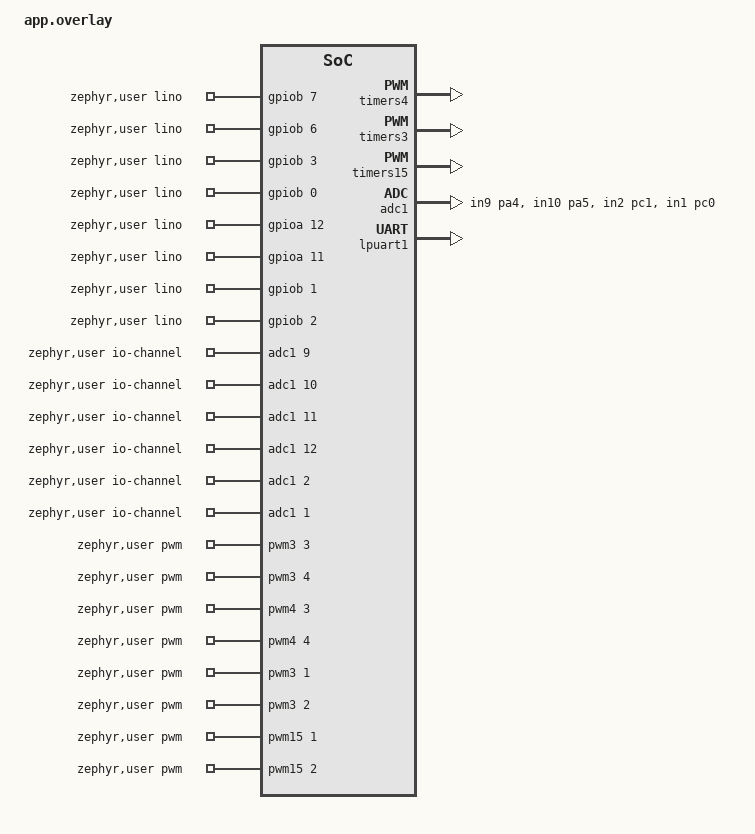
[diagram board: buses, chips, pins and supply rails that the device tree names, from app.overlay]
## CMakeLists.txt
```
cmake_minimum_required(VERSION 3.20.0)
list(APPEND ZEPHYR_EXTRA_MODULES /work/micro_ros_zephyr_module/modules/libmicroros)
find_package(Zephyr REQUIRED HINTS $ENV{ZEPHYR_BASE})
project(unoq_fw)
# The linorobot2 firmware itself -- src/main.cpp, common/lib, src/tools -- compiled
# unmodified for the UNO Q's STM32U585, against shim/ (the Arduino surface it uses),
# as firmware/host/app does for the robot computer. build.sh passes:
#   FIRMWARE_ROOT  the firmware tree
#   LINO_HEADER    gen_firmware_header.py --mcu unoq
#   LINO_LIBDEPS   fetch_libdeps.py's directory (I2Cdevlib, SparkFun BNO080)
foreach(v FIRMWARE_ROOT LINO_HEADER LINO_LIBDEPS)
  if(NOT DEFINED ${v})
    message(FATAL_ERROR "${v} is not set (see build.sh)")
  endif()
endforeach()
file(GLOB LIB_SOURCES ${FIRMWARE_ROOT}/common/lib/*/*.cpp)
file(GLOB TOOL_SOURCES ${FIRMWARE_ROOT}/src/tools/*.cpp)
file(GLOB LIB_DIRS LIST_DIRECTORIES true ${FIRMWARE_ROOT}/common/lib/*)
file(GLOB DEP_DIRS LIST_DIRECTORIES true ${LINO_LIBDEPS}/I2Cdevlib-* "${LINO_LIBDEPS}/SparkFun BNO080*")
set(DEP_SOURCES "")
set(DEP_INCLUDES "")
foreach(d ${DEP_DIRS})
  if(IS_DIRECTORY ${d})
    file(GLOB s ${d}/*.cpp ${d}/src/*.cpp)
    list(APPEND DEP_SOURCES ${s})
    list(APPEND DEP_INCLUDES ${d})
    if(IS_DIRECTORY ${d}/src)
      list(APPEND DEP_INCLUDES ${d}/src)
    endif()
  endif()
endforeach()
# Every source in src/, as PlatformIO compiles it -- not main.cpp by name (base_ident.cpp).
file(GLOB APP_SOURCES ${FIRMWARE_ROOT}/src/*.cpp)
target_sources(app PRIVATE
  src/zephyr_core.cpp src/uart_link.cpp src/pins.cpp src/lidar_uart.cpp
  ${APP_SOURCES} ${LIB_SOURCES} ${TOOL_SOURCES} ${DEP_SOURCES})
if(NOT DEFINED FW_GIT_REV)
  set(FW_GIT_REV "unknown")
endif()
string(TIMESTAMP FW_BUILD_DATE "%Y-%m-%d" UTC)
# The micro-ROS distro this image links (build.sh MICROROS_DISTRO). It sets the banner and
# the default cmd_vel type (Twist through jazzy, TwistStamped after), so it is never
# assumed: a lyrical image that said "jazzy" here listened for Twist while lyrical's Nav2
# sent TwistStamped, and the robot never moved (2026-10-05).
if(NOT DEFINED FW_ROS_DISTRO)
  message(FATAL_ERROR "FW_ROS_DISTRO is not set (build.sh passes MICROROS_DISTRO)")
endif()
target_compile_definitions(app PRIVATE
  LINO_ZEPHYR=1
  ARDUINO=10819
  CONFIG_PATH="${LINO_HEADER}"
  FW_GIT_REV="${FW_GIT_REV}"
  FW_BUILD_DATE="${FW_BUILD_DATE}"
  FW_ROS_DISTRO="${FW_ROS_DISTRO}"
  # rcutils headers ask for C11 Annex K; picolibc + Zephyr 4.4 cannot provide it.
  __STDC_WANT_LIB_EXT1__=0)
# A diagnostic image (LINO_EXTRA_CMAKE=-DLINO_MCU_STATS=1 for build.sh): /mcu_stats at 1 Hz.
if(LINO_MCU_STATS)
  target_compile_definitions(app PRIVATE LINO_MCU_STATS=1)
endif()
# firmware/include first, so its config.h (which includes CONFIG_PATH) is the one found.
target_include_directories(app PRIVATE
  ${FIRMWARE_ROOT}/include ${FIRMWARE_ROOT}/src shim src ${LIB_DIRS} ${DEP_INCLUDES})
# Third-party Arduino libraries and the shared firmware are not written for
# -Wdouble-promotion and friends; their warnings are not this target's to fix.
target_compile_options(app PRIVATE -Wno-double-promotion -Wno-unused-parameter)
```

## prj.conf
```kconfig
# The linorobot2 firmware on the UNO Q MCU (Zephyr 4.4 + micro-ROS jazzy).
CONFIG_MICROROS=y
CONFIG_MICROROS_TRANSPORT_SERIAL=y
# The Arduino firmware's limits (firmware/atomic.meta): an Odometry message does not
# fit a 512-byte MTU, and a best-effort stream cannot fragment.
CONFIG_MICROROS_PUBLISHERS="11"
CONFIG_MICROROS_SUBSCRIBERS="2"
CONFIG_MICROROS_XRCE_DDS_MTU="1024"

CONFIG_CPP=y
CONFIG_STD_CPP17=y
CONFIG_REQUIRES_FULL_LIBCPP=y
CONFIG_FPU=y
CONFIG_GPIO=y
CONFIG_PWM=y
CONFIG_CRC=y
# test_sensors: the Qwiic bus (i2c4), A0, the chip's unique ID
CONFIG_I2C=y
CONFIG_ADC=y
CONFIG_HWINFO=y
# The tool's `set` writes the env page (zephyr_core.cpp linoZephyrEnvWrite).
CONFIG_FLASH=y
CONFIG_FLASH_MAP=y

CONFIG_MAIN_STACK_SIZE=32768
CONFIG_HEAP_MEM_POOL_SIZE=65536
CONFIG_MAIN_THREAD_PRIORITY=3

# Zephyr 4.4: picolibc is the default C library; clock_gettime() comes from POSIX_TIMERS.
CONFIG_POSIX_API=y
CONFIG_POSIX_TIMERS=y
CONFIG_POSIX_DEVICE_IO=y

CONFIG_STDOUT_CONSOLE=y
CONFIG_LOG=y
CONFIG_SERIAL=y
CONFIG_UART_INTERRUPT_DRIVEN=y
CONFIG_UART_USE_RUNTIME_CONFIGURE=y

# The MCU's UART console (usart1, D0/D1) does not reach Linux. printk and the fatal-error
# report go to a RAM buffer instead, read over SWD:
#   openocd ... -c "init; halt; dump_image ram_console.bin <&ram_console_buf> 4096"
CONFIG_RAM_CONSOLE=y
CONFIG_RAM_CONSOLE_BUFFER_SIZE=4096
CONFIG_LOG_MODE_MINIMAL=y
# The UART console hooks printk after the RAM console and would take it back.
CONFIG_UART_CONSOLE=n

# The tool's `base` and lino-tool restart the STM32 (tools.cpp toolRestart: sys_reboot).
CONFIG_REBOOT=y
```

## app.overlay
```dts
/*
 * The linorobot2 firmware on the UNO Q: every pin it may be given by the env, as
 * Arduino header numbers (config/reference/unoq_config.yaml), checked against
 * Zephyr's boards/arduino/uno_q/arduino_r3_connector.dtsi.
 */
#include <zephyr/dt-bindings/pwm/pwm.h>
#include <zephyr/dt-bindings/gpio/gpio.h>

/ {
	zephyr,user {
		/* The Arduino header in pin-number order (D0-D13, A0-A5), then LED3 red, green,
		 * blue -- the shim's pin numbers are the indexes into this list. */
		lino-gpios = <&gpiob 7 0>, <&gpiob 6 0>, <&gpiob 3 0>, <&gpiob 0 0>,
			     <&gpioa 12 0>, <&gpioa 11 0>, <&gpiob 1 0>, <&gpiob 2 0>,
			     <&gpiob 4 0>, <&gpiob 8 0>, <&gpiob 9 0>, <&gpiob 15 0>,
			     <&gpiob 14 0>, <&gpiob 13 0>,
			     <&gpioa 4 0>, <&gpioa 5 0>, <&gpioa 6 0>, <&gpioa 7 0>,
			     <&gpioc 1 0>, <&gpioc 0 0>,
			     <&gpioh 10 GPIO_ACTIVE_LOW>, <&gpioh 11 GPIO_ACTIVE_LOW>,
			     <&gpioh 12 GPIO_ACTIVE_LOW>;
		/* PWM: D3, D6, D9, D10, then A2, A3, D12, D11 -- eight, two per motor for a 4WD or
		 * mecanum base on two-PWM drivers. The period is set at run time
		 * (analogWriteFrequency). The order is pins.cpp pwmIndex(). */
		pwms = <&pwm3 3 PWM_USEC(50) PWM_POLARITY_NORMAL>,
		       <&pwm3 4 PWM_USEC(50) PWM_POLARITY_NORMAL>,
		       <&pwm4 3 PWM_USEC(50) PWM_POLARITY_NORMAL>,
		       <&pwm4 4 PWM_USEC(50) PWM_POLARITY_NORMAL>,
		       <&pwm3 1 PWM_USEC(50) PWM_POLARITY_NORMAL>,
		       <&pwm3 2 PWM_USEC(50) PWM_POLARITY_NORMAL>,
		       <&pwm15 1 PWM_USEC(50) PWM_POLARITY_NORMAL>,
		       <&pwm15 2 PWM_USEC(50) PWM_POLARITY_NORMAL>;
		/* analogRead: A0-A5 = ADC1 IN9, IN10, IN11, IN12, IN2, IN1 (the board's channels) */
		io-channels = <&adc1 9>, <&adc1 10>, <&adc1 11>, <&adc1 12>, <&adc1 2>, <&adc1 1>;
	};
};

/* The board file gives D10 (PB9) to SPI2 as chip select, which would fight TIM4 CH4
 * for the pin; nothing in the firmware uses SPI. */
&spi2 { status = "disabled"; };

&timers4 {
	status = "okay";
	st,prescaler = <0>;
	pwm4: pwm {
		status = "okay";
		pinctrl-0 = <&tim4_ch3_pb8 &tim4_ch4_pb9>;
		pinctrl-names = "default";
	};
};

&timers3 {
	status = "okay";
	st,prescaler = <0>;
	pwm3: pwm {
		status = "okay";
		pinctrl-0 = <&tim3_ch1_pa6 &tim3_ch2_pa7 &tim3_ch3_pb0 &tim3_ch4_pb1>;
		pinctrl-names = "default";
	};
};

/* D12 / D11 (PB14 / PB15): TIM15 CH1 / CH2. SPI2, which the board file puts there, is off. */
&timers15 {
	status = "okay";
	st,prescaler = <0>;
	pwm15: pwm {
		status = "okay";
		pinctrl-0 = <&tim15_ch1_pb14 &tim15_ch2_pb15>;
		pinctrl-names = "default";
	};
};

/* A2 / A3 (PA6 / PA7) are TIM3 CH1 / CH2 above. The board file also gives them to the ADC,
 * whose pinctrl would put them back in analog mode if it initialised after the timer:
 * the ADC keeps A0, A1, A4, A5. (A4/A5 become encoder inputs at run time, after every
 * driver has initialised, which reconfigures them as GPIO.) */
&adc1 {
	pinctrl-0 = <&adc1_in9_pa4 &adc1_in10_pa5 &adc1_in2_pc1 &adc1_in1_pc0>;
};

/*
 * micro-ROS on lpuart1, the internal link to the QRB2210 (/dev/ttyHS1). The LPUART's
 * 8-byte hardware FIFOs are off unless asked for (CR1.FIFOEN); without them a byte
 * every 3.3 us at 3 Mbaud overran the per-byte interrupt path (ISR.ORE set).
 */
&lpuart1 {
	status = "okay";
	fifo-enable;
};

/*
 * The robot's env block (firmware/common/lib/mcu_env/mcu_env.h layout: CRC32, then
 * "key=value\0...\0\0"), in the last 8 KB page of bank 2 -- clear of Arduino's
 * sketch area (storage, 0xe0000-0xfffff) and of any image this app could grow to.
 */
&flash0 {
	partitions {
		lino_env_partition: partition@1fe000 {
			label = "lino-env";
			reg = <0x001fe000 DT_SIZE_K(8)>;
			/* written by the host (openocd) and by the tool's `set` (zephyr_core.cpp) */
		};
	};
};

/*
 * The system clock from the board's 16 MHz crystal (HSE), not the MSI. The board file
 * runs PLL1 from MSIS in PLL mode, which trims the RC oscillator against the 32 kHz
 * crystal in coarse steps: measured against the robot computer's NTP-held clock it ran
 * 300-900 ppm off (2026-10-05), so a timestamp synced once at connect was ~140 ms out
 * after five minutes and the host's scans sat "in the future" of the odom TF. Same
 * 160 MHz: 16 MHz / M 1 x N 20 / R 2 (VCO 320 MHz).
 */
&pll1 {
	clocks = <&clk_hse>;
	div-m = <1>;
	mul-n = <20>;
	div-q = <2>;
	div-r = <2>;
};
```

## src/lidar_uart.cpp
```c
// The firmware's lidarUartOpen() hook on the UNO Q: a real LD19's TX on D0 (PB7), which
// is USART1's RX -- the board file's `arduino_serial`. Interrupt-driven into a ring, read
// by the firmware's raw_scan forwarder (src/main.cpp, pumpRealLidar) from loop(). D1 (the
// UART's TX) is not used: the LD19 needs nothing sent to it.
#include <Arduino.h>

#include <zephyr/device.h>
#include <zephyr/drivers/uart.h>
#include <zephyr/kernel.h>
#include <zephyr/sys/printk.h>
#include <zephyr/sys/ring_buffer.h>

static const struct device *const usart1 = DEVICE_DT_GET(DT_NODELABEL(usart1));
RING_BUF_DECLARE(lidar_ring, 2048);     // ~90 ms of LD19 at 230400
static uint32_t lidar_bytes, lidar_dropped, lidar_errors;

static void lidarIsr(const struct device *dev, void *)
{
    while (uart_irq_update(dev) && uart_irq_is_pending(dev)) {
        if (uart_irq_rx_ready(dev)) {
            uint8_t buf[32];
            const int n = uart_fifo_read(dev, buf, sizeof(buf));
            if (n > 0) {
                lidar_bytes += (uint32_t)n;
                lidar_dropped += (uint32_t)n - ring_buf_put(&lidar_ring, buf, (uint32_t)n);
            }
        }
        if (uart_err_check(dev) > 0)
            lidar_errors++;
    }
}

class LidarUart : public Stream
{
public:
    size_t write(uint8_t) override { return 0; }
    using Print::write;
    int available() override
    {
        const unsigned int key = irq_lock();
        const int n = (int)ring_buf_size_get(&lidar_ring);
        irq_unlock(key);
        return n;
    }
    int read() override
    {
        uint8_t c;
        const unsigned int key = irq_lock();
        const uint32_t got = ring_buf_get(&lidar_ring, &c, 1);
        irq_unlock(key);
        return got ? c : -1;
    }
};
static LidarUart lidar_uart;

// The LD19 input's counters, for the diagnostic /mcu_stats (LINO_MCU_STATS builds): bytes
// the UART received, bytes lost to a full ring, UART errors (overrun, framing, noise).
void lidarUartStats(uint32_t *bytes, uint32_t *dropped, uint32_t *errors)
{
    const unsigned int key = irq_lock();
    *bytes = lidar_bytes; *dropped = lidar_dropped; *errors = lidar_errors;
    irq_unlock(key);
}

Stream *lidarUartOpen(int rx_pin, uint32_t baud)
{
    if (rx_pin != 0) {           // D0 is the only header pin with a free UART RX here
        printk("[lidar] lidar_rx %d: only D0 (USART1 RX) can take a LiDAR on the UNO Q\n", rx_pin);
        return nullptr;
    }
    if (!device_is_ready(usart1))
        return nullptr;
    struct uart_config cfg;
    if (uart_config_get(usart1, &cfg) == 0) {
        cfg.baudrate = baud;
        cfg.flow_ctrl = UART_CFG_FLOW_CTRL_NONE;
        if (uart_configure(usart1, &cfg) != 0)
            return nullptr;
    }
    uart_irq_callback_user_data_set(usart1, lidarIsr, NULL);
    uart_irq_rx_enable(usart1);
    return &lidar_uart;
}
```

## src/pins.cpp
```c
// The Arduino pin API on the UNO Q's STM32U585: digital I/O, PWM, ADC, pin interrupts
// and the x4 quadrature counters the firmware's Encoder uses. Pin numbers are the
// board's Arduino header numbers (shim/Arduino.h); the devicetree list in app.overlay
// is in the same order.
#include <Arduino.h>

#include <zephyr/device.h>
#include <zephyr/drivers/adc.h>
#include <zephyr/drivers/gpio.h>
#include <zephyr/drivers/pwm.h>
#include <zephyr/kernel.h>
#include <zephyr/sys/printk.h>

#define USER_NODE DT_PATH(zephyr_user)
#define GPIO_SPEC(node, prop, idx) GPIO_DT_SPEC_GET_BY_IDX(node, prop, idx),
#define PWM_SPEC(node, prop, idx) PWM_DT_SPEC_GET_BY_IDX(node, idx),
#define ADC_SPEC(node, prop, idx) ADC_DT_SPEC_GET_BY_IDX(node, idx),

static const struct gpio_dt_spec pins[] = {DT_FOREACH_PROP_ELEM(USER_NODE, lino_gpios, GPIO_SPEC)};
static const struct pwm_dt_spec pwms[] = {DT_FOREACH_PROP_ELEM(USER_NODE, pwms, PWM_SPEC)};
static const struct adc_dt_spec adcs[] = {DT_FOREACH_PROP_ELEM(USER_NODE, io_channels, ADC_SPEC)};
#define NPINS ((int)ARRAY_SIZE(pins))

// Which header pins carry a timer channel, and which entry of pwms[] it is.
static int pwmIndex(int pin)
{
    switch (pin) {
    case 3: return 0;    // D3  PB0 TIM3 CH3
    case 6: return 1;    // D6  PB1 TIM3 CH4
    case 9: return 2;    // D9  PB8 TIM4 CH3
    case 10: return 3;   // D10 PB9 TIM4 CH4
    case 16: return 4;   // A2  PA6 TIM3 CH1
    case 17: return 5;   // A3  PA7 TIM3 CH2
    case 12: return 6;   // D12 PB14 TIM15 CH1
    case 11: return 7;   // D11 PB15 TIM15 CH2
    default: return -1;
    }
}

static int pwm_bits = 8;                        // Arduino's default resolution
#define NPWM 8
BUILD_ASSERT(ARRAY_SIZE(pwms) == NPWM, "app.overlay pwms and pwmIndex() must list the same channels");
static uint32_t pwm_period_ns[NPWM] = {50000, 50000, 50000, 50000,
                                       50000, 50000, 50000, 50000};   // 20 kHz until told
static bool pwm_ready[NPWM];

static bool validPin(int pin) { return pin >= 0 && pin < NPINS && gpio_is_ready_dt(&pins[pin]); }

void pinMode(int pin, int mode)
{
    if (!validPin(pin)) return;
    // A timer pin set to OUTPUT stays the timer's: the motor drivers call pinMode on
    // the pins they then analogWrite, and reclaiming it as a GPIO would stop the PWM.
    if (mode == OUTPUT && pwmIndex(pin) >= 0) return;
    gpio_flags_t f = mode == OUTPUT ? GPIO_OUTPUT_INACTIVE
                   : mode == INPUT_PULLUP ? (GPIO_INPUT | GPIO_PULL_UP)
                   : mode == INPUT_PULLDOWN ? (GPIO_INPUT | GPIO_PULL_DOWN) : GPIO_INPUT;
    gpio_pin_configure_dt(&pins[pin], f);
}

void analogWriteResolution(int bits) { if (bits >= 1 && bits <= 16) pwm_bits = bits; }
void analogWriteRange(uint32_t range)
{
    int b = 1;
    while (b < 16 && ((1u << b) - 1) < range) b++;
    pwm_bits = b;
}

void analogWriteFrequency(int pin, uint32_t hz)
{
    if (hz == 0) return;
    const int i = pwmIndex(pin);
    for (int k = 0; k < NPWM; k++)
        if (i < 0 ? pin < 0 : k == i) pwm_period_ns[k] = 1000000000u / hz;
}

static void pwmSet(int i, uint32_t value)
{
    if (!pwm_ready[i]) {
        if (!pwm_is_ready_dt(&pwms[i])) return;
        pwm_ready[i] = true;
    }
    const uint32_t max = (1u << pwm_bits) - 1;
    if (value > max) value = max;
    const uint32_t pulse = (uint32_t)((uint64_t)pwm_period_ns[i] * value / max);
    pwm_set_dt(&pwms[i], pwm_period_ns[i], pulse);
}

void analogWrite(int pin, int value)
{
    const int i = pwmIndex(pin);
    if (i >= 0) {
        pwmSet(i, value < 0 ? 0 : (uint32_t)value);
        return;
    }
    // Arduino's analogWrite on a pin with no timer: on at half or more, off below.
    if (validPin(pin)) {
        gpio_pin_configure_dt(&pins[pin], GPIO_OUTPUT);
        gpio_pin_set_dt(&pins[pin], value >= (1 << (pwm_bits - 1)));
    }
}

void digitalWrite(int pin, int v)
{
    const int i = pwmIndex(pin);
    if (i >= 0 && pwm_ready[i]) {            // a PWM pin stays PWM: 0 % or 100 %
        pwmSet(i, v ? (1u << pwm_bits) - 1 : 0);
        return;
    }
    if (validPin(pin)) gpio_pin_set_dt(&pins[pin], v ? 1 : 0);
}

int digitalRead(int pin) { return validPin(pin) && gpio_pin_get_dt(&pins[pin]) > 0 ? HIGH : LOW; }

static int adc_bits = 10;                       // Arduino's default
void analogReadResolution(int bits) { if (bits >= 1 && bits <= 16) adc_bits = bits; }

int analogRead(int pin)
{
    const int i = pin - LINO_UNOQ_A0;
    if (i < 0 || i >= (int)ARRAY_SIZE(adcs) || !adc_is_ready_dt(&adcs[i])) return 0;
    // The STM32 converts a pin correctly only in analog mode. The ADC driver sets that once,
    // at boot, and a pinMode(pin, INPUT) -- the battery monitor's, as on any Arduino --
    // leaves the pin a digital input: A0 then read 0.824 V where a meter showed 1.038 (a
    // real robot's 10k/1k divider on a 3S pack, 9.06 V reported for 11.41, 2026-10-11).
    // GPIO_DISCONNECTED is analog mode in Zephyr's STM32 GPIO driver, so every read puts
    // the pin back first, as Arduino's own STM32 core does. A timer pin (A2, A3) is left alone.
    if (pwmIndex(pin) < 0 && validPin(pin)) gpio_pin_configure_dt(&pins[pin], GPIO_DISCONNECTED);
    if (adc_channel_setup_dt(&adcs[i])) return 0;
    int16_t raw = 0;
    struct adc_sequence seq = {};
    seq.buffer = &raw;
    seq.buffer_size = sizeof(raw);
    if (adc_sequence_init_dt(&adcs[i], &seq) || adc_read_dt(&adcs[i], &seq)) return 0;
    const int res = adcs[i].resolution;
    int v = raw < 0 ? 0 : raw;
    return res > adc_bits ? v >> (res - adc_bits) : v << (adc_bits - res);
}

// --- pin interrupts ------------------------------------------------------------------
struct PinIsr {
    struct gpio_callback cb;
    void (*fn)(void);
    void (*fn_arg)(void *);
    void *arg;
};
static PinIsr pin_isr[32];

static void pinIsrTrampoline(const struct device *, struct gpio_callback *cb, uint32_t)
{
    PinIsr *p = CONTAINER_OF(cb, PinIsr, cb);
    if (p->fn) p->fn();
    else if (p->fn_arg) p->fn_arg(p->arg);
}

static void attach(int pin, void (*fn)(void), void (*fn_arg)(void *), void *arg, int mode)
{
    if (!validPin(pin) || pin >= (int)ARRAY_SIZE(pin_isr)) return;
    PinIsr &p = pin_isr[pin];
    p.fn = fn; p.fn_arg = fn_arg; p.arg = arg;
    gpio_pin_configure_dt(&pins[pin], GPIO_INPUT | GPIO_PULL_UP);
    gpio_init_callback(&p.cb, pinIsrTrampoline, BIT(pins[pin].pin));
    gpio_add_callback(pins[pin].port, &p.cb);
    gpio_pin_interrupt_configure_dt(&pins[pin], mode == RISING ? GPIO_INT_EDGE_RISING
                                               : mode == FALLING ? GPIO_INT_EDGE_FALLING
                                               : GPIO_INT_EDGE_BOTH);
}

void attachInterrupt(int pin, void (*isr)(void), int mode) { attach(pin, isr, nullptr, nullptr, mode); }
void attachInterrupt(int pin, void (*isr)(void *), int mode, void *arg) { attach(pin, nullptr, isr, arg, mode); }
void detachInterrupt(int pin)
{
    if (!validPin(pin)) return;
    gpio_pin_interrupt_configure_dt(&pins[pin], GPIO_INT_DISABLE);
    gpio_remove_callback(pins[pin].port, &pin_isr[pin].cb);
}

// --- x4 quadrature, for the firmware's Encoder (common/lib/encoder/encoder.h) --------
// Index (previous AB << 2) | current AB; a jump of both lines counts nothing.
static const int8_t QUAD[16] = {0, -1, 1, 0, 1, 0, 0, -1, -1, 0, 0, 1, 0, 1, -1, 0};
struct Quad { int a, b; uint8_t state; volatile int32_t count; };
static Quad quads[4];
static int nquads;

static void quadEdge(void *arg)
{
    Quad *q = (Quad *)arg;
    const uint8_t ab = (uint8_t)((gpio_pin_get_dt(&pins[q->a]) << 1) | gpio_pin_get_dt(&pins[q->b]));
    q->count += QUAD[(q->state << 2) | ab];
    q->state = ab;
}

extern "C" int linoZephyrQuadAttach(int pin_a, int pin_b)
{
    // A pin pair already counting is the same encoder asked for again: hand back its counter.
    // setup() builds the robot's four encoders before any tool runs, so a tool that builds its
    // own (test_motors) found all four slots taken, got -1 and read 0 RPM forever while the
    // edges went on being counted in the robot's counters (a mecanum robot's first motor test,
    // 2026-10-11: 270 edges/s on the lines, 0.0 RPM). The direction follows the latest caller.
    for (int h = 0; h < nquads; h++) {
        Quad &q = quads[h];
        if ((q.a == pin_a && q.b == pin_b) || (q.a == pin_b && q.b == pin_a)) {
            const unsigned int key = irq_lock();
            q.a = pin_a; q.b = pin_b;
            q.state = (uint8_t)((gpio_pin_get_dt(&pins[pin_a]) << 1) | gpio_pin_get_dt(&pins[pin_b]));
            irq_unlock(key);
            return h;
        }
    }
    if (!validPin(pin_a) || !validPin(pin_b) || nquads >= (int)ARRAY_SIZE(quads)) {
        printk("[encoder] pins %d/%d: not usable on this board\n", pin_a, pin_b);
        return -1;
    }
    Quad &q = quads[nquads];
    q.a = pin_a; q.b = pin_b; q.count = 0;
    attach(pin_a, nullptr, quadEdge, &q, CHANGE);
    attach(pin_b, nullptr, quadEdge, &q, CHANGE);
    q.state = (uint8_t)((gpio_pin_get_dt(&pins[pin_a]) << 1) | gpio_pin_get_dt(&pins[pin_b]));
    return nquads++;
}

extern "C" int32_t linoZephyrQuadRead(int h)
{
    if (h < 0 || h >= nquads) return 0;
    const unsigned int key = irq_lock();
    const int32_t c = quads[h].count;
    irq_unlock(key);
    return c;
}

extern "C" void linoZephyrQuadWrite(int h, int32_t count)
{
    if (h < 0 || h >= nquads) return;
    const unsigned int key = irq_lock();
    quads[h].count = count;
    irq_unlock(key);
}
```

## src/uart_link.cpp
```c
#include "uart_link.h"

#include <zephyr/device.h>
#include <zephyr/drivers/uart.h>
#include <zephyr/kernel.h>
#include <zephyr/sys/printk.h>
#include <zephyr/sys/ring_buffer.h>

static const struct device *const link = DEVICE_DT_GET(DT_NODELABEL(lpuart1));

// TX holds a few frames: micro-ROS writes a whole serialized frame per call (MTU 1024
// plus framing), and the 50 Hz topics plus the session's own traffic must not stall.
RING_BUF_DECLARE(tx_ring, 4096);
RING_BUF_DECLARE(rx_ring, 4096);
static K_SEM_DEFINE(rx_sem, 0, 1);
static struct UartLinkStats stats;
static bool started;

static void linkIsr(const struct device *dev, void *user)
{
    ARG_UNUSED(user);
    while (uart_irq_update(dev) && uart_irq_is_pending(dev)) {
        if (uart_irq_rx_ready(dev)) {
            uint8_t buf[32];
            const int n = uart_fifo_read(dev, buf, sizeof(buf));
            if (n > 0) {
                const uint32_t put = ring_buf_put(&rx_ring, buf, (uint32_t)n);
                stats.rx_bytes += put;
                stats.rx_dropped += (uint32_t)n - put;
                k_sem_give(&rx_sem);
            }
        }
        if (uart_irq_tx_ready(dev)) {
            uint8_t *chunk;
            const uint32_t avail = ring_buf_get_claim(&tx_ring, &chunk, 16);
            if (avail == 0) {
                uart_irq_tx_disable(dev);
            } else {
                const int sent = uart_fifo_fill(dev, chunk, (int)avail);
                ring_buf_get_finish(&tx_ring, sent > 0 ? (uint32_t)sent : 0);
                if (sent > 0)
                    stats.tx_bytes += (uint32_t)sent;
            }
        }
        // uart_err_check() reads and clears the error flags; an uncleared overrun
        // would keep the interrupt pending for ever.
        if (uart_err_check(dev) > 0)
            stats.uart_errors++;
    }
}

bool linkBegin(uint32_t baud)
{
    if (!device_is_ready(link))
        return false;
    struct uart_config cfg;
    if (uart_config_get(link, &cfg) == 0 && baud > 0) {
        cfg.baudrate = baud;
        const int rc = uart_configure(link, &cfg);
        printk("[link] lpuart1 -> /dev/ttyHS1 at %u baud%s\n", (unsigned)baud, rc ? " FAILED" : "");
    }
    if (!started) {
        uart_irq_callback_user_data_set(link, linkIsr, NULL);
        uart_irq_rx_enable(link);
        started = true;
    }
    return true;
}

size_t linkWrite(const uint8_t *buf, size_t len)
{
    if (!started)
        return 0;
    size_t done = 0;
    const int64_t deadline = k_uptime_get() + 50;   // a full 4 KB queue drains in 10 ms at 4 Mbaud
    bool waited = false;
    while (done < len) {
        // The ISR is the only consumer and cannot run under the lock.
        const unsigned int key = irq_lock();
        const uint32_t put = ring_buf_put(&tx_ring, buf + done, (uint32_t)(len - done));
        irq_unlock(key);
        done += put;
        uart_irq_tx_enable(link);
        if (done < len) {
            if (k_uptime_get() > deadline) {
                stats.tx_dropped += (uint32_t)(len - done);
                break;
            }
            waited = true;
            k_usleep(100);
        }
    }
    if (waited)
        stats.tx_full_waits++;
    return done;
}

size_t linkRead(uint8_t *buf, size_t len, int timeout_ms)
{
    if (!started)
        return 0;
    const int64_t deadline = k_uptime_get() + (timeout_ms > 0 ? timeout_ms : 0);
    size_t got = 0;
    for (;;) {
        const unsigned int key = irq_lock();
        got += ring_buf_get(&rx_ring, buf + got, (uint32_t)(len - got));
        irq_unlock(key);
        const int64_t left = deadline - k_uptime_get();
        if (got == len || left <= 0)
            return got;
        (void)k_sem_take(&rx_sem, K_MSEC(left));
    }
}

int linkAvailable(void)
{
    const unsigned int key = irq_lock();
    const int n = (int)ring_buf_size_get(&rx_ring);
    irq_unlock(key);
    return n;
}

void linkFlush(int timeout_ms)
{
    const int64_t deadline = k_uptime_get() + timeout_ms;
    while (!ring_buf_is_empty(&tx_ring) && k_uptime_get() < deadline)
        k_usleep(100);
}

void linkStats(struct UartLinkStats *out)
{
    const unsigned int key = irq_lock();
    *out = stats;
    irq_unlock(key);
}
```

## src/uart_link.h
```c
// The lpuart1 link (-> the QRB2210's /dev/ttyHS1) as an interrupt-driven byte stream:
// write() queues and returns, the UART interrupt drains the queue into the 8-byte
// hardware FIFO; received bytes land in a queue and wake readers. The shim's Serial
// sits on this, and the firmware's own micro-ROS serial transport on Serial.
#pragma once
#include <stddef.h>
#include <stdint.h>

struct UartLinkStats {
    uint32_t tx_bytes, rx_bytes;
    uint32_t tx_full_waits;   // a write found the queue full and had to wait for it
    uint32_t tx_dropped;      // bytes a write gave up on (queue still full at its deadline)
    uint32_t rx_dropped;      // bytes received with the RX queue full
    uint32_t uart_errors;     // overrun / framing / parity / noise, from uart_err_check()
};

bool   linkBegin(uint32_t baud);
size_t linkWrite(const uint8_t *buf, size_t len);
size_t linkRead(uint8_t *buf, size_t len, int timeout_ms);
int    linkAvailable(void);
void   linkFlush(int timeout_ms);
void   linkStats(struct UartLinkStats *out);
```

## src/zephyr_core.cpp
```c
// The Arduino runtime for the UNO Q (Zephyr) target: the core's globals, time, the
// Serial and Wire bodies, and main() -> setup() once, loop() for ever. Every line of
// robot behaviour is the firmware's own (src/main.cpp, common/lib), compiled unmodified.
#include <Arduino.h>
#include <Wire.h>
#include <SPI.h>

#include <ctype.h>
#include <zephyr/device.h>
#include <zephyr/drivers/hwinfo.h>
#include <zephyr/drivers/i2c.h>
#include <zephyr/storage/flash_map.h>
#include <zephyr/kernel.h>
#include <zephyr/sys/printk.h>

#include "uart_link.h"

_LinoZephyrSerial Serial;
TwoWire Wire;
TwoWire Wire1;
SPIClass SPI;

// --- time -------------------------------------------------------------------------
uint64_t _lino_zephyr_now_us() { return k_ticks_to_us_floor64(k_uptime_ticks()); }
void delay(unsigned long ms) { k_msleep((int32_t)ms); }
void delayMicroseconds(unsigned int us) { k_busy_wait(us); }
void yield() { k_yield(); }
static unsigned int irq_key;
void noInterrupts() { irq_key = irq_lock(); }
void interrupts() { irq_unlock(irq_key); }

// --- Serial: the micro-ROS link ------------------------------------------------------
void _LinoZephyrSerial::begin(unsigned long baud) { linkBegin((uint32_t)baud); }

size_t _LinoZephyrSerial::write(const uint8_t *buf, size_t n)
{
    // Text (the banner, the boot log) is mirrored to the RAM console; a micro-ROS
    // frame always carries non-text bytes and is not.
    bool text = n > 0;
    for (size_t i = 0; i < n && text; i++)
        text = isprint(buf[i]) || buf[i] == '\n' || buf[i] == '\r' || buf[i] == '\t';
    if (text)
        printk("%.*s", (int)n, (const char *)buf);
    return linkWrite(buf, n);
}

void _LinoZephyrSerial::flush() { linkFlush(100); }
int _LinoZephyrSerial::available() { return linkAvailable(); }
int _LinoZephyrSerial::read()
{
    uint8_t c;
    return linkRead(&c, 1, 0) == 1 ? c : -1;
}
size_t _LinoZephyrSerial::readBytes(char *buf, size_t n)
{
    return linkRead((uint8_t *)buf, n, (int)getTimeout());
}

// --- Wire: the Qwiic bus (i2c4) -------------------------------------------------------
static const struct device *const qwiic = DEVICE_DT_GET(DT_NODELABEL(i2c4));

void TwoWire::setClock(uint32_t freq)
{
    const uint32_t speed = freq >= 1000000 ? I2C_SPEED_FAST_PLUS
                         : freq >= 400000  ? I2C_SPEED_FAST : I2C_SPEED_STANDARD;
    (void)i2c_configure(qwiic, I2C_MODE_CONTROLLER | I2C_SPEED_SET(speed));
}

size_t TwoWire::write(uint8_t c)
{
    if (tx_len_ >= sizeof(tx_)) return 0;
    tx_[tx_len_++] = c;
    return 1;
}

size_t TwoWire::write(const uint8_t *buf, size_t n)
{
    size_t i = 0;
    while (i < n && write(buf[i])) i++;
    return i;
}

// Arduino's codes: 0 ok, 2 address NACK, 4 other error.
uint8_t TwoWire::endTransmission(bool stop)
{
    if (!device_is_ready(qwiic)) return 4;
    if (!stop) {          // keep it for a repeated-start read
        tx_held_ = true;
        return 0;
    }
    tx_held_ = false;
    int rc;
    if (tx_len_ == 0) {   // an address probe: a 1-byte read is what every STM32 I2C can do
        uint8_t b;
        rc = i2c_read(qwiic, &b, 1, addr_);
    } else {
        rc = i2c_write(qwiic, tx_, tx_len_, addr_);
    }
    tx_len_ = 0;
    return rc == 0 ? 0 : 2;
}

uint8_t TwoWire::requestFrom(uint8_t addr, size_t n, bool stop)
{
    (void)stop;
    rx_len_ = rx_pos_ = 0;
    if (n > sizeof(rx_)) n = sizeof(rx_);
    if (!device_is_ready(qwiic) || n == 0) return 0;
    int rc;
    if (tx_held_ && tx_len_ > 0 && addr == addr_)
        rc = i2c_write_read(qwiic, addr, tx_, tx_len_, rx_, n);
    else
        rc = i2c_read(qwiic, rx_, n, addr);
    tx_held_ = false;
    tx_len_ = 0;
    if (rc != 0) return 0;
    rx_len_ = n;
    return (uint8_t)n;
}

// --- identity, for the banner's uid= -----------------------------------------------
extern "C" void linoZephyrUid(char *buf, size_t n)
{
    uint8_t id[12] = {};
    const ssize_t got = hwinfo_get_device_id(id, sizeof(id));
    size_t o = 0;
    for (ssize_t i = 0; i < got && o + 3 <= n; i++)
        o += snprintf(buf + o, n - o, "%02X", id[i]);
    if (o < n) buf[o] = '\0';
}

// --- the env block, in the last 8 KB flash page (app.overlay) -----------------------
extern "C" const uint8_t *linoZephyrEnvBase(void)
{
    return (const uint8_t *)(DT_REG_ADDR(DT_CHOSEN(zephyr_flash)) +
                             DT_REG_ADDR(DT_NODELABEL(lino_env_partition)));
}

// The tool's `set` (mcu_env.cpp envSaveKey): the whole 8 KB page erased, the 4 KB block
// written at its start, and read back through the flash driver -- never through the memory
// map, which the instruction cache could answer from. NULL on success, else why not.
extern "C" const char *linoZephyrEnvWrite(const uint8_t *blk, size_t n)
{
    const struct flash_area *fa;
    if (flash_area_open(FIXED_PARTITION_ID(lino_env_partition), &fa) != 0)
        return "no env page";
    const char *why = NULL;
    uint8_t chunk[256];
    if (flash_area_erase(fa, 0, fa->fa_size) != 0)
        why = "erasing the env page failed";
    else if (flash_area_write(fa, 0, blk, n) != 0)
        why = "writing the env page failed";
    for (size_t o = 0; !why && o < n; o += sizeof(chunk)) {
        if (flash_area_read(fa, o, chunk, sizeof(chunk)) != 0)
            why = "reading the env page back failed";
        else if (memcmp(chunk, blk + o, sizeof(chunk)) != 0)
            why = "the env page reads back different";
    }
    flash_area_close(fa);
    return why;
}

void setup();
void loop();

int main()
{
    setup();
    for (;;)
        loop();
}
```
